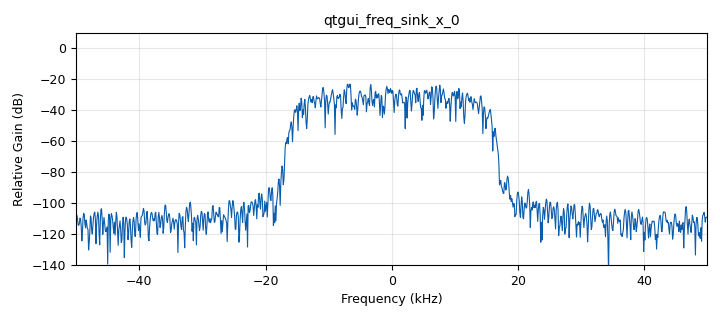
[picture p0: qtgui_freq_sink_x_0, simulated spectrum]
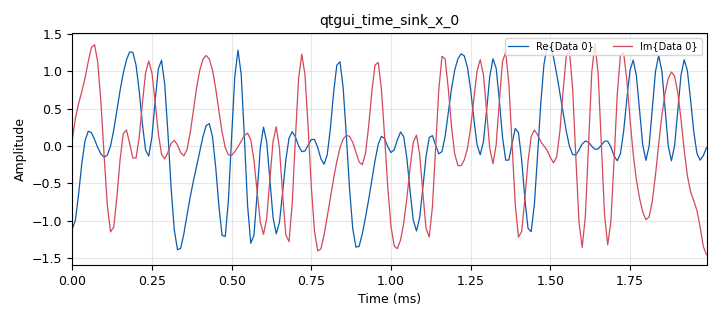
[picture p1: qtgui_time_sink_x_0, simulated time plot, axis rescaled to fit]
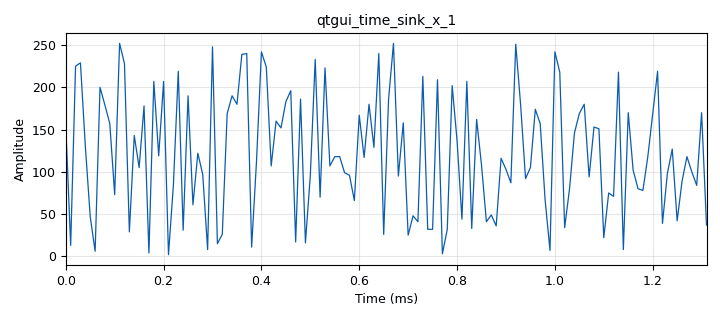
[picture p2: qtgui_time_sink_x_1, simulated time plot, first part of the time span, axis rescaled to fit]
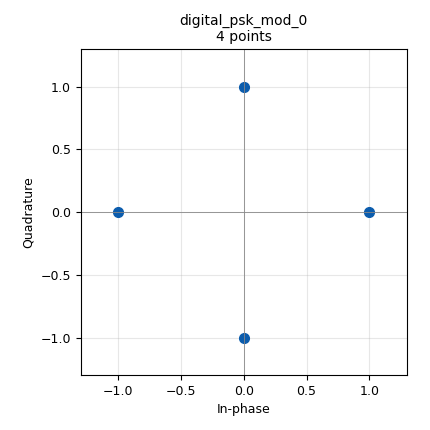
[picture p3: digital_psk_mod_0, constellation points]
options:
  parameters:
    generate_options: qt_gui
    id: random_source
    output_language: python
    title: random_source
  states: {}

blocks:
- name: samp_rate
  id: variable
  parameters:
    value: '100000'
  states: {}
- name: analog_random_source_x_0
  id: analog_random_source_x
  parameters:
    max: '256'
    min: '0'
    num_samps: '100000'
    repeat: 'True'
    type: byte
  states: {}
- name: blocks_throttle_0
  id: blocks_throttle
  parameters:
    samples_per_second: samp_rate
    type: byte
  states: {}
- name: blocks_uchar_to_float_0
  id: blocks_uchar_to_float
  parameters: {}
  states: {}
- name: digital_psk_mod_0
  id: digital_psk_mod
  parameters:
    constellation_points: '4'
    differential: 'True'
    excess_bw: '0.35'
    mod_code: '"gray"'
    samples_per_symbol: '4'
  states: {}
- name: qtgui_freq_sink_x_0
  id: qtgui_freq_sink_x
  parameters:
    bw: samp_rate
    fc: '0'
    fftsize: '1024'
    type: complex
  states: {}
- name: qtgui_time_sink_x_0
  id: qtgui_time_sink_x
  parameters:
    size: '200'
    srate: samp_rate
    type: complex
  states: {}
- name: qtgui_time_sink_x_1
  id: qtgui_time_sink_x
  parameters:
    size: '1024'
    srate: samp_rate
    type: float
  states: {}

connections:
- [analog_random_source_x_0, '0', blocks_throttle_0, '0']
- [analog_random_source_x_0, '0', blocks_uchar_to_float_0, '0']
- [blocks_throttle_0, '0', digital_psk_mod_0, '0']
- [blocks_uchar_to_float_0, '0', qtgui_time_sink_x_1, '0']
- [digital_psk_mod_0, '0', qtgui_freq_sink_x_0, '0']
- [digital_psk_mod_0, '0', qtgui_time_sink_x_0, '0']

metadata:
  file_format: 1
